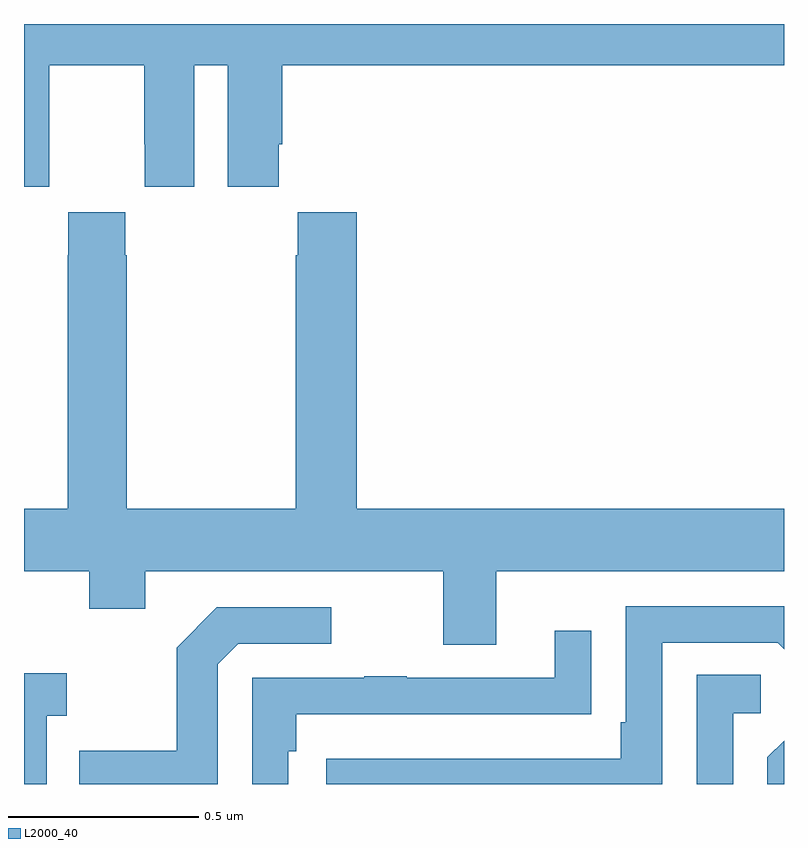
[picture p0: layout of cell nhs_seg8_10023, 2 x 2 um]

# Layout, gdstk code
import gdstk
lib = gdstk.Library(unit=1e-6, precision=1e-09)
def P(c, l, *ps):  # polygons
    for p in ps: c.add(gdstk.Polygon(p, *l))
L2000_40 = (2000, 40)

nhs_seg8_10023 = lib.new_cell('nhs_seg8_10023')
P(nhs_seg8_10023, L2000_40, [(243.066,1157.584),(243.067,1157.584),(243.067,1157.792),(243.317,1157.792),(243.317,1157.584),(243.318,1157.584),(243.318,1157.472),(243.448,1157.472),(243.448,1157.792),(243.536,1157.792),(243.536,1157.472),(243.67,1157.472),(243.67,1157.584),(243.68,1157.584),(243.68,1157.792),(245,1157.792),(245,1157.9),(243,1157.9),(243,1157.472),(243.066,1157.472)],
  [(244.243,1156.46),(245,1156.46),(245,1156.624),(243.875,1156.624),(243.875,1157.404),(243.721,1157.404),(243.721,1157.291),(243.715,1157.291),(243.715,1156.624),(243.27,1156.624),(243.27,1157.291),(243.267,1157.291),(243.267,1157.404),(243.117,1157.404),(243.117,1157.291),(243.115,1157.291),(243.115,1156.624),(243,1156.624),(243,1156.46),(243.172,1156.46),(243.172,1156.361),(243.319,1156.361),(243.319,1156.46),(244.103,1156.46),(244.103,1156.266),(244.243,1156.266)],
  [(244.68,1156.272),(244.983,1156.272),(245,1156.255),(245,1156.368),(244.584,1156.368),(244.584,1156.063),(244.571,1156.063),(244.571,1155.966),(243.795,1155.966),(243.795,1155.9),(244.68,1155.9)],
  [(243.51,1156.215),(243.564,1156.269),(243.808,1156.269),(243.808,1156.365),(243.507,1156.365),(243.402,1156.259),(243.402,1155.987),(243.145,1155.987),(243.145,1155.9),(243.51,1155.9)],
  [(243.696,1155.986),(243.716,1155.986),(243.716,1156.083),(244.391,1156.083),(244.391,1156.084),(244.493,1156.084),(244.493,1156.303),(244.397,1156.303),(244.397,1156.179),(244.007,1156.179),(244.007,1156.184),(243.895,1156.184),(243.895,1156.179),(243.6,1156.179),(243.6,1155.9),(243.696,1155.9)],
  [(243.06,1156.079),(243.112,1156.079),(243.112,1156.192),(243,1156.192),(243,1155.9),(243.06,1155.9)],
  [(244.866,1156.086),(244.939,1156.086),(244.939,1156.187),(244.77,1156.187),(244.77,1155.9),(244.866,1155.9)],
  [(245,1156.014),(244.956,1155.97),(244.956,1155.9),(245,1155.9)])

lib.write_gds('nhs_seg8_10023.gds')
